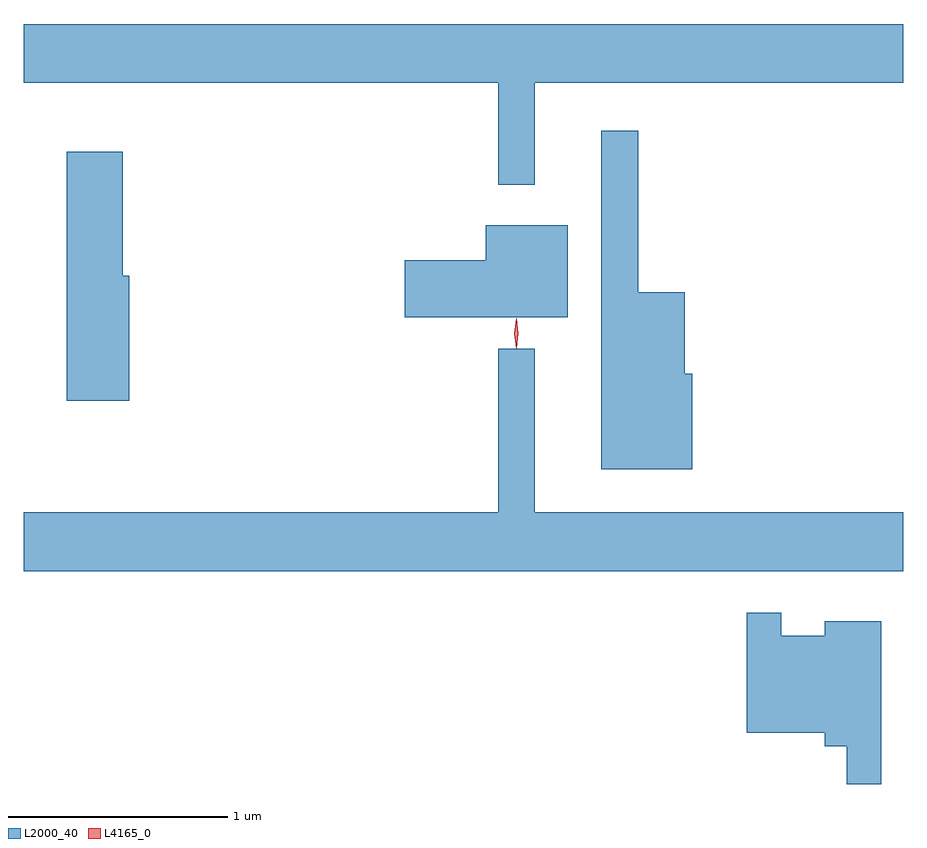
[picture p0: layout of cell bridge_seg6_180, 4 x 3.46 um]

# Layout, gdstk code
import gdstk
lib = gdstk.Library(unit=1e-6, precision=1e-09)
def P(c, l, *ps):  # polygons
    for p in ps: c.add(gdstk.Polygon(p, *l))
L2000_40 = (2000, 40)
L4165_0 = (4165, 0)

bridge_seg6_180 = lib.new_cell('bridge_seg6_180')
P(bridge_seg6_180, L2000_40, [(1063.559,1578.896),(1065.234,1578.896),(1065.234,1579.164),(1061.234,1579.164),(1061.234,1578.896),(1063.391,1578.896),(1063.391,1578.433),(1063.559,1578.433)],
  [(1064.274,1577.574),(1064.239,1577.574),(1064.239,1577.944),(1064.029,1577.944),(1064.029,1578.678),(1063.861,1578.678),(1063.861,1577.141),(1064.274,1577.141)],
  [(1061.714,1578.019),(1061.684,1578.019),(1061.684,1578.584),(1061.431,1578.584),(1061.431,1577.451),(1061.714,1577.451)],
  [(1063.709,1578.249),(1063.336,1578.249),(1063.336,1578.089),(1062.966,1578.089),(1062.966,1577.831),(1063.709,1577.831)],
  [(1063.391,1577.688),(1063.391,1576.944),(1061.234,1576.944),(1061.234,1576.676),(1065.234,1576.676),(1065.234,1576.944),(1063.559,1576.944),(1063.559,1577.688)],
  [(1065.134,1576.449),(1064.876,1576.449),(1064.876,1576.384),(1064.679,1576.384),(1064.679,1576.488),(1064.521,1576.488),(1064.521,1575.941),(1064.876,1575.941),(1064.876,1575.881),(1064.976,1575.881),(1064.976,1575.709),(1065.134,1575.709)])
P(bridge_seg6_180, L4165_0, [(1063.475,1577.693),(1063.474,1577.694),(1063.464,1577.756),(1063.473,1577.819),(1063.473,1577.82),(1063.474,1577.819),(1063.484,1577.756),(1063.475,1577.694)],
  [(1063.474,1577.69),(1063.465,1577.758),(1063.474,1577.825),(1063.474,1577.826),(1063.475,1577.825),(1063.484,1577.758),(1063.476,1577.69),(1063.475,1577.69)])

lib.write_gds('bridge_seg6_180.gds')
